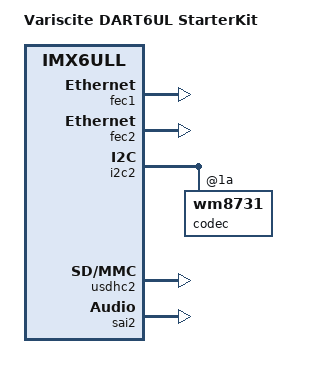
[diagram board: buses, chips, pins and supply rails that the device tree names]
// SPDX-License-Identifier: (GPL-2.0+ OR MIT)
/*
 * Copyright 2021 Amotus Solution Inc.
 * Author: Marc Ferland <ferlandm@amotus.ca>
 */

/dts-v1/;

#include "imx6ull.dtsi"
#include "imx6ull-var-dart6ul.dtsi"
#include "imx6ul-var-dart6ul-wifi.dtsi"
#include "imx6ull-var-dart6ul-6ulcustomboard.dtsi"

/ {
	model = "Variscite DART6UL StarterKit";
	compatible = "variscite,imx6ull-var-dart6ul-starterkit", "fsl,imx6ull";

        /* TODO: specify through u-boot? */
	/* memory { */
	/* 	device_type = "memory"; */
	/* 	reg = <0x80000000 0x20000000>; */
	/* }; */

	chosen {
		stdout-path = &uart1;
	};

        sound {
                status = "okay";
        };
};

&codec {
        status = "okay";
};

&fec1 {
        status = "okay";
};

&fec2 {
	status = "okay";
};

&i2c2 {
	codec: wm8731@1a {
		status = "okay";
	};
};

&usdhc2 {
        status = "okay";
};

&sai2 {
        status = "okay";
};
